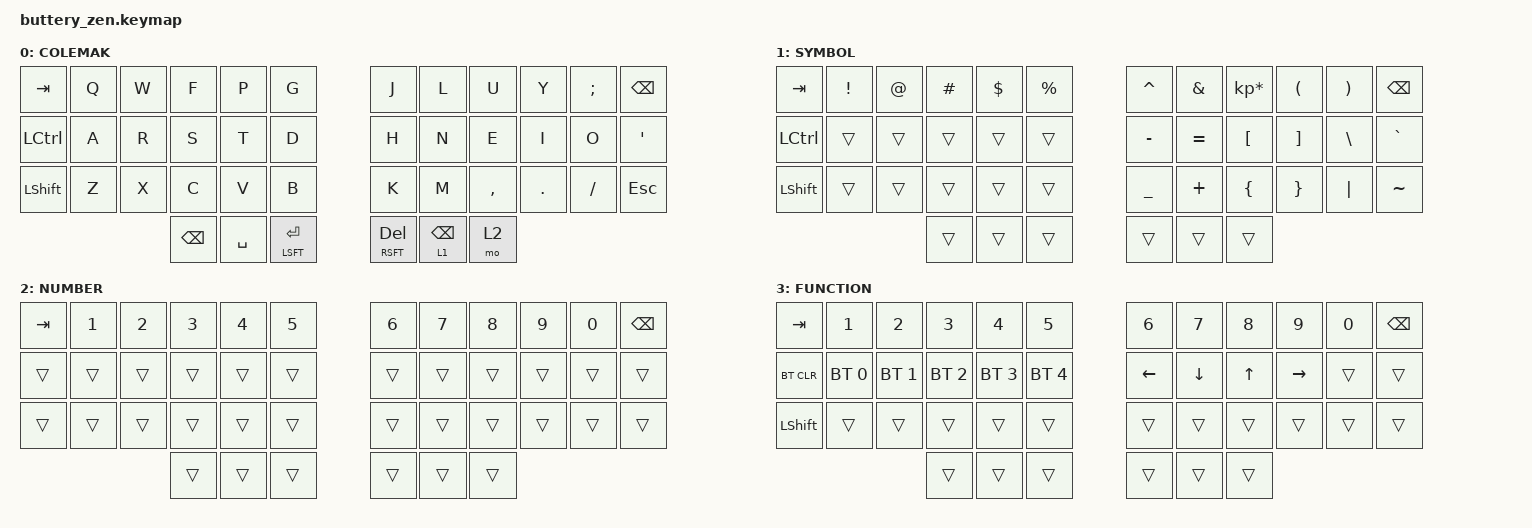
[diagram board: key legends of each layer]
/*
*
* Copyright (c) 2021 Darryl deHaan
* SPDX-License-Identifier: MIT
*
*/

#include <behaviors.dtsi>
#include <dt-bindings/zmk/keys.h>
#include <dt-bindings/zmk/bt.h>

/ {

behaviors {
      hm: homerow_mods {
        compatible = "zmk,behavior-hold-tap";
        label = "HOMEROW_MODS";
        #binding-cells = <2>;
        tapping_term_ms = <300>;
        flavor = "tap-preferred";
        bindings = <&kp>, <&kp>;
    };
      sf: holdtap_shift {
        compatible = "zmk,behavior-hold-tap";
        label = "HOLDTAP_SHIFT";
        #binding-cells = <2>;
        tapping_term_ms = <300>;
        flavor = "hold-preferred";
        bindings = <&kp>, <&kp>;
    };
      ltt: layertap_layer {
        compatible = "zmk,behavior-hold-tap";
        label = "LAYERTAP_LAYER";
        #binding-cells = <2>;
        tapping_term_ms = <300>;
        flavor = "hold-preferred";
        bindings = <&mo>, <&kp>;
    };

    combos {
    compatible = "zmk,combos";
    combo_1 {
        timeout-ms = <50>;
        key-positions = <1 13>;
        bindings = <&kp N1>;
        layers = <0>;
    };
    combo_2 {
        timeout-ms = <50>;
        key-positions = <2 14>;
        bindings = <&kp N2>;
        layers = <0>;
    };
    combo_3 {
        timeout-ms = <50>;
        key-positions = <3 15>;
        bindings = <&kp N3>;
        layers = <0>;
    };
    combo_4 {
        timeout-ms = <50>;
        key-positions = <4 16>;
        bindings = <&kp N4>;
        layers = <0>;
    };
    combo_5 {
        timeout-ms = <50>;
        key-positions = <5 17>;
        bindings = <&kp N5>;
        layers = <0>;
    };
    combo_6 {
        timeout-ms = <50>;
        key-positions = <6 18>;
        bindings = <&kp N6>;
        layers = <0>;
    };
    combo_7 {
        timeout-ms = <50>;
        key-positions = <7 19>;
        bindings = <&kp N7>;
        layers = <0>;
    };
    combo_8 {
        timeout-ms = <50>;
        key-positions = <8 20>;
        bindings = <&kp N8>;
        layers = <0>;
    };
    combo_9 {
        timeout-ms = <50>;
        key-positions = <9 21>;
        bindings = <&kp N9>;
        layers = <0>;
    };
    combo_0 {
        timeout-ms = <50>;
        key-positions = <10 22>;
        bindings = <&kp N0>;
        layers = <0>;
    };
    combo_lalt {
        timeout-ms = <50>;
        key-positions = <26 27>;
        bindings = <&kp LALT>;
    };
    combo_lgui {
        timeout-ms = <50>;
        key-positions = <27 28>;
        bindings = <&kp LGUI>;
    };
     combo_lctrl {
        timeout-ms = <50>;
        key-positions = <28 29>;
        bindings = <&kp LCTRL>;
    };
     combo_lctrlalt {
        timeout-ms = <50>;
        key-positions = <26 27 28 29>;
        bindings = <&kp LC(LALT)>;
    };
     combo_lctrlgui {
        timeout-ms = <50>;
        key-positions = <27 28 29>;
        bindings = <&kp LC(LGUI)>;
    };
    combo_ralt {
        timeout-ms = <50>;
        key-positions = <32 33>;
        bindings = <&kp RALT>;
    };
    combo_rgui {
        timeout-ms = <50>;
        key-positions = <31 32>;
        bindings = <&kp RGUI>;
    };
     combo_rctrl {
        timeout-ms = <50>;
        key-positions = <30 31>;
        bindings = <&kp RCTRL>;
    };
     combo_rctrlalt {
        timeout-ms = <50>;
        key-positions = <30 31 32 33>;
        bindings = <&kp RC(RALT)>;
    };
     combo_rctrlgui {
        timeout-ms = <50>;
        key-positions = <30 32 32>;
        bindings = <&kp RC(RGUI)>;
    };
    combo_bspc {
        timeout-ms = <50>;
        key-positions = <10 11>;
        bindings = <&kp BKSP>;
        layers = <0 1>;
    };
    combo_tab {
        timeout-ms = <50>;
        key-positions = <4 5>;
        bindings = <&kp TAB>;
        layers = <0>;
    };
    combo_caps {
        timeout-ms = <50>;
        key-positions = <6 7>;
        bindings = <&kp CAPS>;
        layers = <0>;
    };
    combo_ins {
        timeout-ms = <50>;
        key-positions = <18 19>;
        bindings = <&kp INS>;
        layers = <0>;
    };
    combo_bkupctrl {
        timeout-ms = <50>;
        key-positions = <36 37>;
        bindings = <&kp LCTRL>;
        layers = <0>;
    };
    combo_esc {
        timeout-ms = <50>;
        key-positions = <16 17>;
        bindings = <&kp ESC>;
        layers = <0>;
    };
    combo_nav {
        timeout-ms = <50>;
        key-positions = <37 38>;
        bindings = <&mo 3>;
        layers = <0>;
    };
    combo_fncesc {
        timeout-ms = <50>;
        key-positions = <37 40>;
        bindings = <&lt 4 ESC>;
    };
    combo_ttab {
        timeout-ms = <50>;
        key-positions = <40 41>;
        bindings = <&kp TAB>;
        layers = <0>;
    };
    combo_play {
        timeout-ms = <75>;
        key-positions = <36 37 38 39 40 41>;
        bindings = <&kp C_PP>;
    };
};

};
        keymap {
                compatible = "zmk,keymap";

                default_layer {
                        label = "COLEMAK";
// -----------------------------------------------------------------------------------------
// |  TAB |  Q  |  W  |  F  |  P  |  G  |   |  J  |  L   |  U  |  Y  |  ;  | BKSP |
// | CTRL |  A  |  R  |  S  |  T  |  D  |   |  H  |  N   |  E  |  I  |  O  |  '   |
// | SHFT |  Z  |  X  |  C  |  V  |  B  |   |  K  |  M   |  ,  |  .  |  /  | ESC  |
//                    | GUI | LWR | SPC |   | ENT | RSE  | ALT |
                        bindings = <
   &kp TAB   &kp Q &kp W &kp F &kp P &kp G   &kp J &kp L  &kp U     &kp Y   &kp SEMI &kp BSPC
   &kp LCTRL &kp A &kp R &kp S &kp T &kp D   &kp H &kp N  &kp E     &kp I   &kp O    &kp SQT
   &kp LSHFT &kp Z &kp X &kp C &kp V &kp B   &kp K &kp M  &kp COMMA &kp DOT &kp FSLH &kp ESC
             &kp BSPC &kp SPC &sf LSFT RET   &hm RSFT DEL &ltt 1 BSPC &mo 2
                        >;
                };

                sym_layer {
                        label = "SYMBOL";
// -----------------------------------------------------------------------------------------
// |  TAB |  !  |  @  |  #  |  $  |  %  |   |  ^  |  &  |  *  |  (  |  )  | BKSP |
// | CTRL |     |     |     |     |     |   |  -  |  =  |  [  |  ]  |  \  |  `   |
// | SHFT |     |     |     |     |     |   |  _  |  +  |  {  |  }  | "|" |  ~   |
//                    | GUI |     | SPC |   | ENT |     | ALT |
                        bindings = <
   &kp  TAB  &kp EXCL &kp AT &kp HASH &kp DLLR &kp PRCNT   &kp CARET &kp AMPS  &kp KP_MULTIPLY &kp LPAR &kp RPAR &kp BSPC
   &kp LCTRL &trans   &trans &trans   &trans   &trans      &kp MINUS &kp EQUAL &kp LBKT        &kp RBKT &kp BSLH &kp GRAVE
   &kp LSHFT &trans   &trans &trans   &trans   &trans      &kp UNDER &kp PLUS  &kp LBRC        &kp RBRC &kp PIPE &kp TILDE
                          	                      &trans &trans &trans         &trans  &trans   &trans
                        >;
                };
                 num_layer {
                        label = "NUMBER";
// -----------------------------------------------------------------------------------------
// |  TAB |  1  |  2  |  3  |  4  |  5  |   |  6  |  7  |  8  |  9  |  0  | BKSP |
// | BTCLR| BT1 | BT2 | BT3 | BT4 | BT5 |   | LFT | DWN |  UP | RGT |     |      |
// | SHFT |     |     |     |     |     |   |     |     |     |     |     |      |
//                    | GUI |     | SPC |   | ENT |     | ALT |
                        bindings = <
   &kp TAB    &kp N1       &kp N2       &kp N3       &kp N4       &kp N5         &kp N6   &kp N7   &kp N8 &kp N9    &kp N0 &kp BSPC
   &trans     &trans       &trans       &trans       &trans       &trans         &trans   &trans   &trans &trans    &trans &trans
   &trans     &trans       &trans       &trans       &trans       &trans         &trans   &trans   &trans &trans    &trans &trans
                          	                      &trans &trans &trans         &trans  &trans   &trans
                        >;
                };
                   fnc_layer {
                        label = "FUNCTION";
// -----------------------------------------------------------------------------------------
// |  TAB |  1  |  2  |  3  |  4  |  5  |   |  6  |  7  |  8  |  9  |  0  | BKSP |
// | BTCLR| BT1 | BT2 | BT3 | BT4 | BT5 |   | LFT | DWN |  UP | RGT |     |      |
// | SHFT |     |     |     |     |     |   |     |     |     |     |     |      |
//                    | GUI |     | SPC |   | ENT |     | ALT |
                        bindings = <
   &kp TAB    &kp N1       &kp N2       &kp N3       &kp N4       &kp N5         &kp N6   &kp N7   &kp N8 &kp N9    &kp N0 &kp BSPC
   &bt BT_CLR &bt BT_SEL 0 &bt BT_SEL 1 &bt BT_SEL 2 &bt BT_SEL 3 &bt BT_SEL 4   &kp LEFT &kp DOWN &kp UP &kp RIGHT &trans &trans
   &kp LSHFT  &trans       &trans       &trans       &trans       &trans         &trans   &trans   &trans &trans    &trans &trans
                          	                      &trans &trans &trans         &trans  &trans   &trans
                        >;
                };

        };
};
